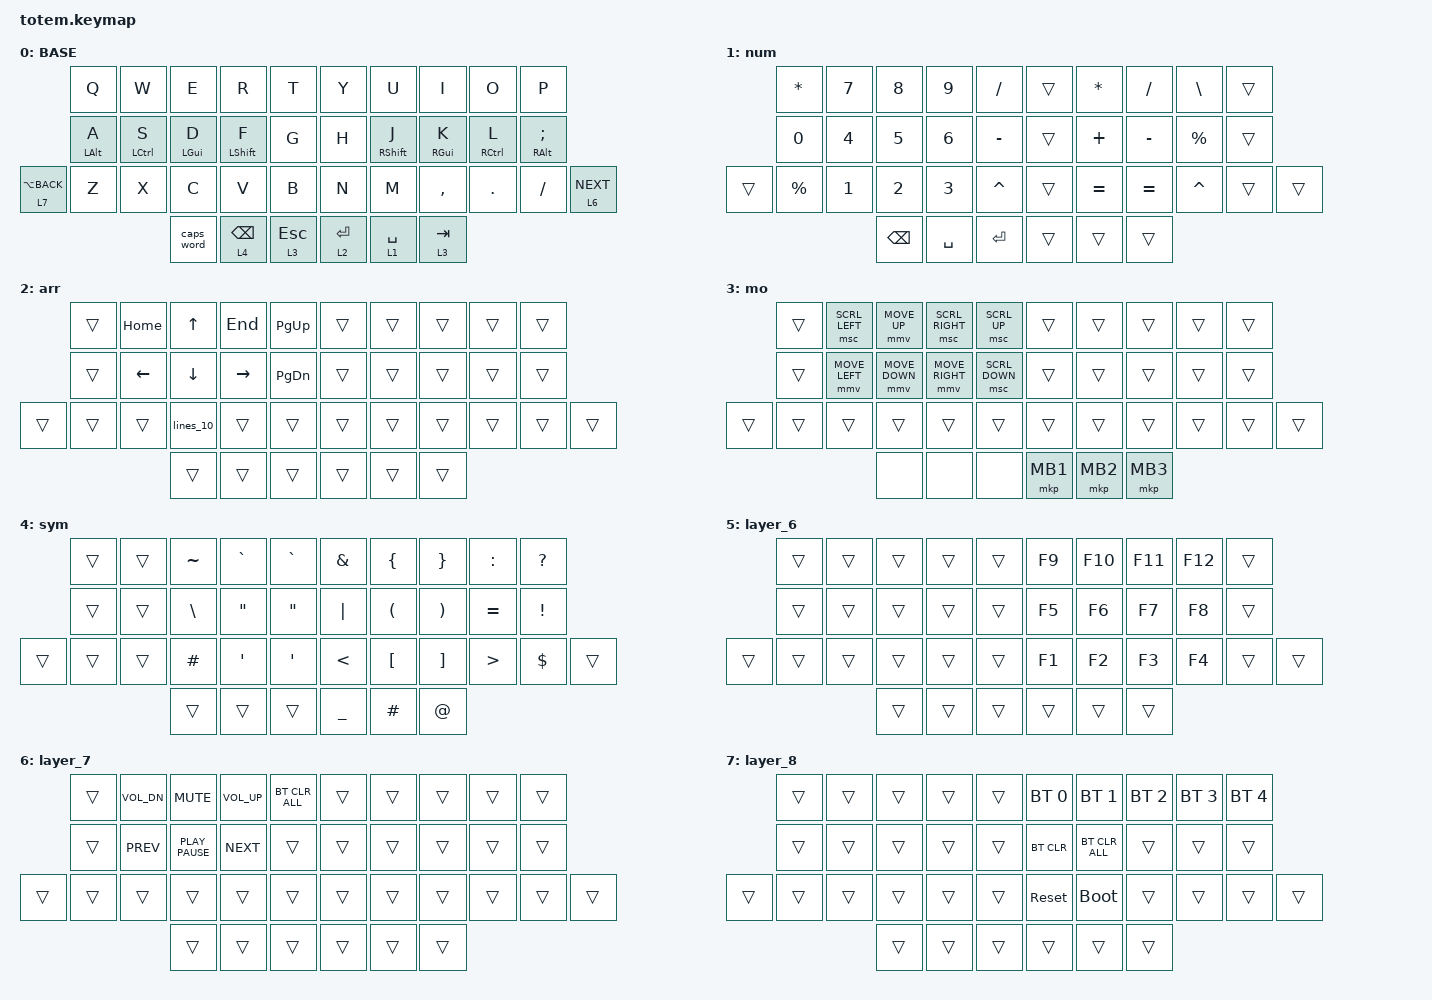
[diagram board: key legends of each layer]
//
//                                                        ▀▀▀▀▀     ▀▀▀▀▀          ▀▀█▀▀
//                                                        ▄▀▀▀▄  ▄  ▄▀▀▀▄  ▄  ▄▀▀▀▄  █  ▄▀▀▀▄
//                                                        █   █  █  █   █  █  █   █  █  █   █
//                                                         ▀▀▀   █   ▀▀▀   █   ▀▀▀   ▀   ▀▀▀
//                                                               █      ▄▄▄█▄▄▄    █   █  
//                                                               ▀      █  █  █     █▄█
//                                                             ▀▀▀▀▀    █  █  █      ▀
//                                                                      ▀  ▀  ▀
//
// ▄▄▄▄▄▄▄▄▄▄▄▄▄▄▄▄▄▄▄▄▄▄▄▄▄▄▄▄▄▄▄▄▄▄▄▄▄▄▄▄▄▄▄▄▄▄▄▄▄▄▄▄▄▄▄▄▄▄▄▄▄▄▄▄▄▄▄▄▄▄▄▄▄▄▄▄▄▄▄▄▄▄▄▄▄▄▄▄▄▄▄▄▄▄▄▄▄▄▄▄▄▄▄▄▄▄▄▄▄▄▄▄▄▄▄▄▄▄▄▄▄▄▄▄▄▄▄▄▄▄▄▄▄▄▄▄▄▄▄▄▄▄▄▄▄▄▄▄▄

#define ZMK_POINTING_DEFAULT_MOVE_VAL 1200  // default: 600
#define ZMK_POINTING_DEFAULT_SCRL_VAL 20    // default: 10

#include <behaviors.dtsi>
#include <dt-bindings/zmk/bt.h>
#include <dt-bindings/zmk/keys.h>
#include <dt-bindings/zmk/pointing.h>

#define BASE 0
#define NAV  1
#define SYM  2
#define ADJ  3
#define TVP1 4
#define TVP2 5

&mt {
    quick-tap-ms = <100>;
    global-quick-tap;
    flavor = "tap-preferred";
    tapping-term-ms = <170>;
};

/ {
    combos {
        compatible = "zmk,combos";

        combo_esc {
            timeout-ms = <50>;
            key-positions = <0 1>;
            bindings = <&kp ESC>;
        };

        combo_tvp {
            timeout-ms = <100>;
            key-positions = <11 12 13>;
            bindings = <&tog 0>;
        };
    };

    macros {
        lines_10: lines_10 {
            compatible = "zmk,behavior-macro";
            #binding-cells = <0>;
            bindings = <&kp DOWN &kp DOWN_ARROW &kp DOWN_ARROW &kp DOWN_ARROW &kp DOWN_ARROW &kp DOWN &kp DOWN &kp DOWN &kp DOWN &kp DOWN &kp DOWN &kp DOWN>;
            label = "LINES_10";
        };
    };

    behaviors {
        lk: lk {
            compatible = "zmk,behavior-hold-tap";
            label = "LK";
            bindings = <&mo>, <&kp>;

            #binding-cells = <2>;
            tapping-term-ms = <170>;
            quick-tap-ms = <100>;
            flavor = "tap-preferred";
        };
    };

    keymap {
        compatible = "zmk,keymap";

        // ▄▄▄▄▄▄▄▄▄▄▄▄▄▄▄▄▄▄▄▄▄▄▄▄▄▄▄▄▄▄▄▄▄▄▄▄▄▄▄▄▄▄▄▄▄▄▄▄▄▄▄▄▄▄▄▄▄▄▄▄▄▄▄▄▄▄▄▄▄▄▄▄▄▄▄▄▄▄▄▄▄▄▄▄▄▄▄▄▄▄▄▄▄▄▄▄▄▄▄▄▄▄▄▄▄▄▄▄▄▄▄▄▄▄▄▄▄▄▄▄▄▄▄▄▄▄▄▄▄▄▄▄▄▄▄▄▄▄▄▄▄▄▄▄▄▄▄▄▄

        base_layer {
            // ┏━━━━━━━━━━━━━━━━━━━━━━━━━━━━━━━━━━━━━━━┓

            label = "BASE";

            // ┗━━━━━━━━━━━━━━━━━━━━━━━━━━━━━━━━━━━━━━━┛
            //             ┏━━━━━━━━━━━┳━━━━━━━━━━━┳━━━━━━━━━━━┳━━━━━━━━━━━┳━━━━━━━━━━━┓   ┏━━━━━━━━━━━┳━━━━━━━━━━━┳━━━━━━━━━━━┳━━━━━━━━━━━┳━━━━━━━━━━━┓
            //             ┃     Q     ┃     W     ┃     F     ┃     P     ┃     G     ┃   ┃     J     ┃     L     ┃     U     ┃     Y     ┃     ;     ┃
            //             ┣━━━━━━━━━━━╋━━━━━━━━━━━╋━━━━━━━━━━━╋━━━━━━━━━━━╋━━━━━━━━━━━┫   ┣━━━━━━━━━━━╋━━━━━━━━━━━╋━━━━━━━━━━━╋━━━━━━━━━━━╋━━━━━━━━━━━┫
            //             ┃     A     ┃     R     ┃     S     ┃     T     ┃     D     ┃   ┃     H     ┃     N     ┃     E     ┃     I     ┃     O     ┃
            // ┏━━━━━━━━━━━╋━━━━━━━━━━━╋━━━━━━━━━━━╋━━━━━━━━━━━╋━━━━━━━━━━━╋━━━━━━━━━━━┫   ┣━━━━━━━━━━━╋━━━━━━━━━━━╋━━━━━━━━━━━╋━━━━━━━━━━━╋━━━━━━━━━━━╋━━━━━━━━━━━┓
            // ┃     Q     ┃     Z     ┃     X     ┃     C     ┃     V     ┃     B     ┃   ┃     K     ┃     M     ┃     ,     ┃     .     ┃     /     ┃     \     ┃
            // ┗━━━━━━━━━━━┻━━━━━━━━━━━┻━━━━━━━━━━━╋━━━━━━━━━━━╋━━━━━━━━━━━╋━━━━━━━━━━━┫   ┣━━━━━━━━━━━╋━━━━━━━━━━━╋━━━━━━━━━━━╋━━━━━━━━━━━┻━━━━━━━━━━━┻━━━━━━━━━━━┛
            //                                     ┃    DEL    ┃    TAB    ┃    SPC    ┃   ┃   ENTER   ┃           ┃   BSPC    ┃
            //                                     ┗━━━━━━━━━━━┻━━━━━━━━━━━┻━━━━━━━━━━━┛   ┗━━━━━━━━━━━┻━━━━━━━━━━━┻━━━━━━━━━━━┛

            bindings = <
                  &kp Q           &kp W        &kp E           &kp R            &kp T           &kp Y        &kp U        &kp I            &kp O        &kp P
                  &mt LEFT_ALT A  &mt LCTRL S  &mt LEFT_GUI D  &mt LSHFT F      &kp G           &kp H        &mt RSHFT J  &mt RIGHT_GUI K  &mt RCTRL L  &mt RIGHT_ALT SEMICOLON
&lt 7 LA(K_BACK)  &kp Z           &kp X        &kp C           &kp V            &kp B           &kp N        &kp M        &kp COMMA        &kp DOT      &kp FSLH                 &lt 6 K_NEXT
                                               &caps_word      &lk 4 BACKSPACE  &lk 3 ESCAPE    &lk 2 ENTER  &lk 1 SPACE  &lk 3 TAB
            >;
        };

        // ▄▄▄▄▄▄▄▄▄▄▄▄▄▄▄▄▄▄▄▄▄▄▄▄▄▄▄▄▄▄▄▄▄▄▄▄▄▄▄▄▄▄▄▄▄▄▄▄▄▄▄▄▄▄▄▄▄▄▄▄▄▄▄▄▄▄▄▄▄▄▄▄▄▄▄▄▄▄▄▄▄▄▄▄▄▄▄▄▄▄▄▄▄▄▄▄▄▄▄▄▄▄▄▄▄▄▄▄▄▄▄▄▄▄▄▄▄▄▄▄▄▄▄▄▄▄▄▄▄▄▄▄▄▄▄▄▄▄▄▄▄▄▄▄▄▄▄▄▄
        // ▄▄▄▄▄▄▄▄▄▄▄▄▄▄▄▄▄▄▄▄▄▄▄▄▄▄▄▄▄▄▄▄▄▄▄▄▄▄▄▄▄▄▄▄▄▄▄▄▄▄▄▄▄▄▄▄▄▄▄▄▄▄▄▄▄▄▄▄▄▄▄▄▄▄▄▄▄▄▄▄▄▄▄▄▄▄▄▄▄▄▄▄▄▄▄▄▄▄▄▄▄▄▄▄▄▄▄▄▄▄▄▄▄▄▄▄▄▄▄▄▄▄▄▄▄▄▄▄▄▄▄▄▄▄▄▄▄▄▄▄▄▄▄▄▄▄▄▄▄
        // ▄▄▄▄▄▄▄▄▄▄▄▄▄▄▄▄▄▄▄▄▄▄▄▄▄▄▄▄▄▄▄▄▄▄▄▄▄▄▄▄▄▄▄▄▄▄▄▄▄▄▄▄▄▄▄▄▄▄▄▄▄▄▄▄▄▄▄▄▄▄▄▄▄▄▄▄▄▄▄▄▄▄▄▄▄▄▄▄▄▄▄▄▄▄▄▄▄▄▄▄▄▄▄▄▄▄▄▄▄▄▄▄▄▄▄▄▄▄▄▄▄▄▄▄▄▄▄▄▄▄▄▄▄▄▄▄▄▄▄▄▄▄▄▄▄▄▄▄▄
        // ▄▄▄▄▄▄▄▄▄▄▄▄▄▄▄▄▄▄▄▄▄▄▄▄▄▄▄▄▄▄▄▄▄▄▄▄▄▄▄▄▄▄▄▄▄▄▄▄▄▄▄▄▄▄▄▄▄▄▄▄▄▄▄▄▄▄▄▄▄▄▄▄▄▄▄▄▄▄▄▄▄▄▄▄▄▄▄▄▄▄▄▄▄▄▄▄▄▄▄▄▄▄▄▄▄▄▄▄▄▄▄▄▄▄▄▄▄▄▄▄▄▄▄▄▄▄▄▄▄▄▄▄▄▄▄▄▄▄▄▄▄▄▄▄▄▄▄▄▄
        // ▄▄▄▄▄▄▄▄▄▄▄▄▄▄▄▄▄▄▄▄▄▄▄▄▄▄▄▄▄▄▄▄▄▄▄▄▄▄▄▄▄▄▄▄▄▄▄▄▄▄▄▄▄▄▄▄▄▄▄▄▄▄▄▄▄▄▄▄▄▄▄▄▄▄▄▄▄▄▄▄▄▄▄▄▄▄▄▄▄▄▄▄▄▄▄▄▄▄▄▄▄▄▄▄▄▄▄▄▄▄▄▄▄▄▄▄▄▄▄▄▄▄▄▄▄▄▄▄▄▄▄▄▄▄▄▄▄▄▄▄▄▄▄▄▄▄▄▄▄

        num {
            bindings = <
        &kp ASTERISK  &kp NUMBER_7  &kp NUMBER_8   &kp NUMBER_9  &kp SLASH    &trans  &kp ASTERISK  &kp SLASH  &kp BACKSLASH  &trans
        &kp N0        &kp NUMBER_4  &kp NUMBER_5   &kp NUMBER_6  &kp MINUS    &trans  &kp PLUS      &kp MINUS  &kp PERCENT    &trans
&trans  &kp PERCENT   &kp NUMBER_1  &kp NUMBER_2   &kp NUMBER_3  &kp CARET    &trans  &kp EQUAL     &kp EQUAL  &kp CARET      &trans  &trans
                                    &kp BACKSPACE  &kp SPACE     &kp ENTER    &trans  &trans        &trans
            >;
        };

        arr {
            bindings = <
        &trans  &kp HOME  &kp UP_ARROW  &kp END    &kp PAGE_UP      &trans  &trans  &trans  &trans  &trans
        &trans  &kp LEFT  &kp DOWN      &kp RIGHT  &kp PAGE_DOWN    &trans  &trans  &trans  &trans  &trans
&trans  &trans  &trans    &lines_10     &trans     &trans           &trans  &trans  &trans  &trans  &trans  &trans
                          &trans        &trans     &trans           &trans  &trans  &trans
            >;
        };

        mo {
            bindings = <
        &trans  &msc SCRL_LEFT  &mmv MOVE_UP    &msc SCRL_RIGHT  &msc SCRL_UP      &trans    &trans    &trans    &trans  &trans
        &trans  &mmv MOVE_LEFT  &mmv MOVE_DOWN  &mmv MOVE_RIGHT  &msc SCRL_DOWN    &trans    &trans    &trans    &trans  &trans
&trans  &trans  &trans          &trans          &trans           &trans            &trans    &trans    &trans    &trans  &trans  &trans
                                &none           &none            &none             &mkp MB1  &mkp MB2  &mkp MB3
            >;
        };

        sym {
            bindings = <
        &trans  &trans  &kp TILDE      &kp GRAVE          &kp GRAVE            &kp AMPERSAND   &kp LEFT_BRACE        &kp RIGHT_BRACE        &kp COLON         &kp QUESTION
        &trans  &trans  &kp BACKSLASH  &kp DOUBLE_QUOTES  &kp DOUBLE_QUOTES    &kp PIPE        &kp LEFT_PARENTHESIS  &kp RIGHT_PARENTHESIS  &kp EQUAL         &kp EXCLAMATION
&trans  &trans  &trans  &kp HASH       &kp SQT            &kp APOS             &kp LESS_THAN   &kp LEFT_BRACKET      &kp RIGHT_BRACKET      &kp GREATER_THAN  &kp DOLLAR       &trans
                        &trans         &trans             &trans               &kp UNDERSCORE  &kp HASH              &kp AT
            >;
        };

        layer_6 {
            bindings = <
        &trans  &trans  &trans  &trans  &trans    &kp F9  &kp F10  &kp F11  &kp F12  &trans
        &trans  &trans  &trans  &trans  &trans    &kp F5  &kp F6   &kp F7   &kp F8   &trans
&trans  &trans  &trans  &trans  &trans  &trans    &kp F1  &kp F2   &kp F3   &kp F4   &trans  &trans
                        &trans  &trans  &trans    &trans  &trans   &trans
            >;
        };

        layer_7 {
            bindings = <
        &trans  &kp C_VOL_DN  &kp K_MUTE        &kp C_VOL_UP  &bt BT_CLR_ALL    &trans  &trans  &trans  &trans  &trans
        &trans  &kp K_PREV    &kp K_PLAY_PAUSE  &kp K_NEXT    &trans            &trans  &trans  &trans  &trans  &trans
&trans  &trans  &trans        &trans            &trans        &trans            &trans  &trans  &trans  &trans  &trans  &trans
                              &trans            &trans        &trans            &trans  &trans  &trans
            >;
        };

        layer_8 {
            bindings = <
        &trans  &trans  &trans  &trans  &trans    &bt BT_SEL 0  &bt BT_SEL 1    &bt BT_SEL 2  &bt BT_SEL 3  &bt BT_SEL 4
        &trans  &trans  &trans  &trans  &trans    &bt BT_CLR    &bt BT_CLR_ALL  &trans        &trans        &trans
&trans  &trans  &trans  &trans  &trans  &trans    &sys_reset    &bootloader     &trans        &trans        &trans        &trans
                        &trans  &trans  &trans    &trans        &trans          &trans
            >;
        };

        extra1 {
            status = "reserved";
        };

        extra2 {
            status = "reserved";
        };
    };
};
